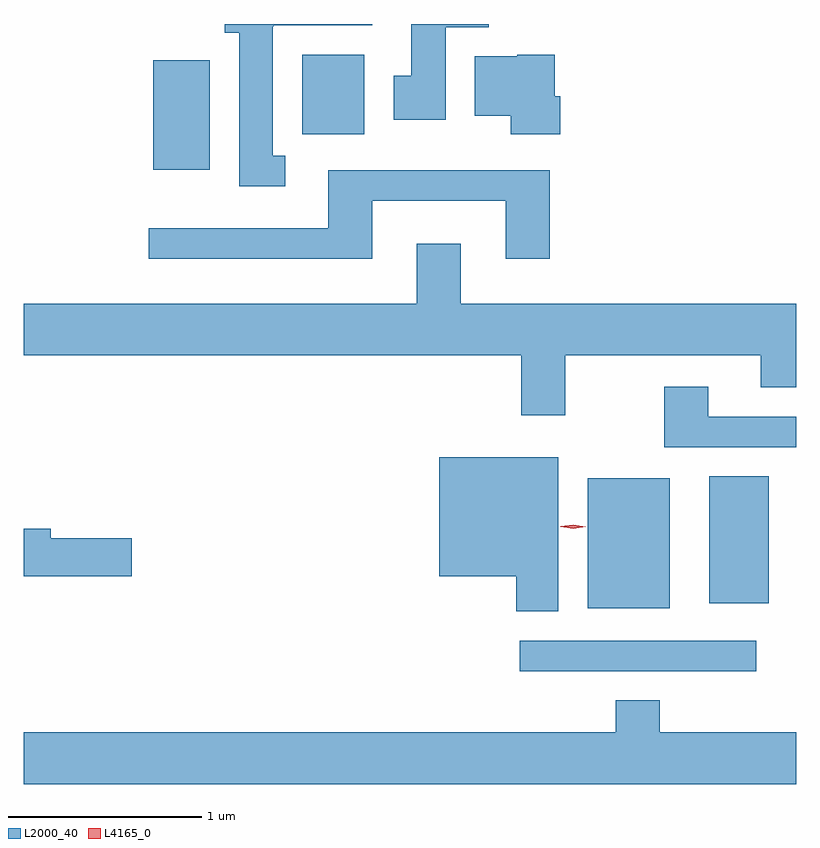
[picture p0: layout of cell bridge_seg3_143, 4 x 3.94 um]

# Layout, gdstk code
import gdstk
lib = gdstk.Library(unit=1e-6, precision=1e-09)
def R(c, l, rs):  # rectangles x0, y0, x1, y1
    for r in rs: c.add(gdstk.rectangle(r[:2], r[2:], *l))
def P(c, l, *ps):  # polygons
    for p in ps: c.add(gdstk.Polygon(p, *l))
L2000_40 = (2000, 40)
L4165_0 = (4165, 0)

bridge_seg3_143 = lib.new_cell('bridge_seg3_143')
R(bridge_seg3_143, L2000_40, [(771.053,1188.761,772.278,1188.919), (771.406,1189.086,771.829,1189.759), (772.036,1189.111,772.344,1189.769), (769.156,1191.356,769.449,1191.924), (769.926,1191.541,770.249,1191.954)])
P(bridge_seg3_143, L2000_40, [(769.838,1191.429),(769.774,1191.429),(769.774,1192.1),(769.78,1192.1),(769.78,1192.106),(770.289,1192.106),(770.289,1192.112),(769.526,1192.112),(769.526,1192.066),(769.601,1192.066),(769.601,1191.271),(769.838,1191.271)],
  [(770.669,1192.096),(770.894,1192.096),(770.894,1192.112),(770.491,1192.112),(770.491,1191.844),(770.401,1191.844),(770.401,1191.616),(770.669,1191.616)],
  [(771.264,1191.739),(771.234,1191.739),(771.234,1191.954),(771.04,1191.954),(771.04,1191.944),(770.821,1191.944),(770.821,1191.636),(771.006,1191.636),(771.006,1191.541),(771.264,1191.541)],
  [(770.289,1191.196),(770.981,1191.196),(770.981,1190.896),(771.209,1190.896),(771.209,1191.354),(770.061,1191.354),(770.061,1191.054),(769.133,1191.054),(769.133,1190.896),(770.289,1190.896)],
  [(771.289,1190.396),(772.301,1190.396),(772.301,1190.231),(772.485,1190.231),(772.485,1190.664),(770.749,1190.664),(770.749,1190.974),(770.521,1190.974),(770.521,1190.664),(768.485,1190.664),(768.485,1190.396),(771.061,1190.396),(771.061,1190.086),(771.289,1190.086)],
  [(772.485,1190.079),(772.029,1190.079),(772.029,1190.234),(771.801,1190.234),(771.801,1189.921),(772.485,1189.921)],
  [(771.254,1189.869),(770.636,1189.869),(770.636,1189.251),(771.036,1189.251),(771.036,1189.071),(771.254,1189.071)],
  [(769.044,1189.449),(768.624,1189.449),(768.624,1189.499),(768.485,1189.499),(768.485,1189.251),(769.044,1189.251)],
  [(772.485,1188.444),(771.779,1188.444),(771.779,1188.609),(771.551,1188.609),(771.551,1188.444),(768.485,1188.444),(768.485,1188.176),(772.485,1188.176)])
P(bridge_seg3_143, L4165_0, [(771.33,1189.499),(771.265,1189.508),(771.264,1189.509),(771.265,1189.51),(771.33,1189.518),(771.396,1189.509),(771.396,1189.508),(771.396,1189.508)])

lib.write_gds('bridge_seg3_143.gds')
